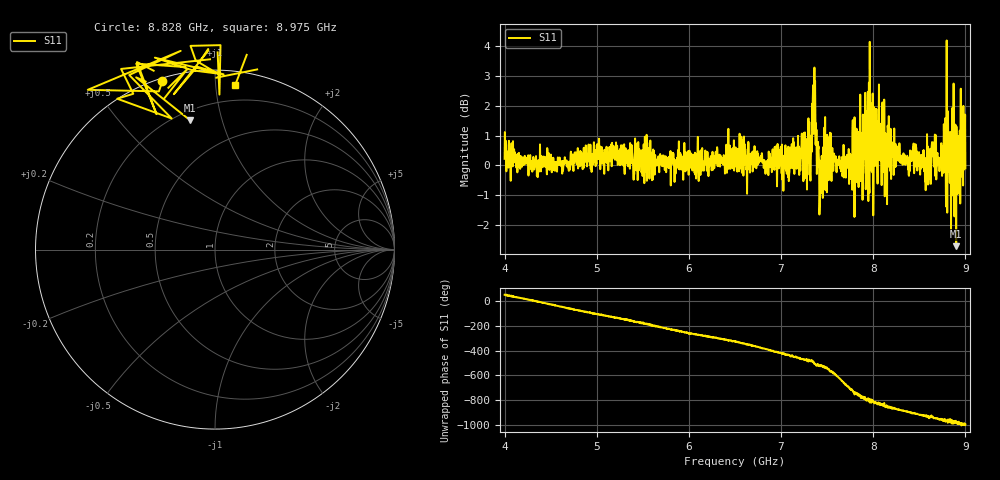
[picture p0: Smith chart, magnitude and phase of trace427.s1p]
! Created with skrf 1.8.0 (http://scikit-rf.org).
# Hz S RI R 50.0
!freq ReS11 ImS11
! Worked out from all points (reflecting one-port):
!   1601 points, 4 GHz to 9 GHz, reference 50 ohm
!   lowest |S11| = -2.7 dB at 8.9 GHz (marker M1), VSWR 6.49, Z = 12.8 + j39.7 ohm
!   phase of S11 starts at 51 deg and turns -1046 deg over the sweep
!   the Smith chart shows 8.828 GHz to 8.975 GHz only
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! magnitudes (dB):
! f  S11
! 4 GHz  0.2
! 4.625 GHz  -0.3
! 5.25 GHz  0.1
! 5.875 GHz  0.3
! 6.5 GHz  0.0
! 6.838 GHz  0.1
! 7.125 GHz  0.3
! 7.266 GHz  0.1
! 7.306 GHz  1.5
! 7.359 GHz  2.7
! 7.388 GHz  -0.3
! 7.4 GHz  0.8
! 7.438 GHz  -0.9
! 7.453 GHz  -1.1
! 7.525 GHz  0.8
! 7.75 GHz  0.1
! 7.962 GHz  4.1
! 8.022 GHz  0.0
! 8.05 GHz  1.5
! 8.375 GHz  0.1
! 8.578 GHz  -0.2
! 8.656 GHz  0.6
! 8.766 GHz  1.4
! 8.791 GHz  -1.4
! 8.825 GHz  0.0
! 8.9 GHz  -2.7
! 8.972 GHz  0.8
! 9 GHz  -0.1
